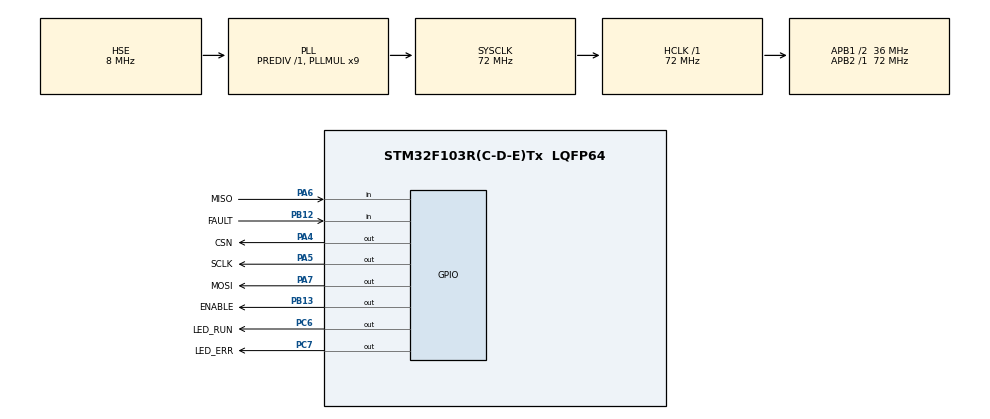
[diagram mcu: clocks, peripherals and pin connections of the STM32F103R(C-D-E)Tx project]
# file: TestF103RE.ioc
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Mcu.Family=STM32F1
Mcu.Name=STM32F103R(C-D-E)Tx
Mcu.Package=LQFP64
NVIC.PriorityGroup=NVIC_PRIORITYGROUP_4
PA13.Mode=Serial_Wire
PA13.Signal=SYS_JTMS-SWDIO
PA14.Mode=Serial_Wire
PA14.Signal=SYS_JTCK-SWCLK
PA4.GPIO_Label=CSN
PA4.Signal=GPIO_Output
PA5.GPIO_Label=SCLK
PA5.Signal=GPIO_Output
PA6.GPIO_Label=MISO
PA6.Signal=GPIO_Input
PA7.GPIO_Label=MOSI
PA7.Signal=GPIO_Output
PB12.GPIO_Label=FAULT
PB12.Signal=GPIO_Input
PB13.GPIO_Label=ENABLE
PB13.Signal=GPIO_Output
PC6.GPIO_Label=LED_RUN
PC6.Signal=GPIO_Output
PC7.GPIO_Label=LED_ERR
PC7.Signal=GPIO_Output
PD0-OSC_IN.Mode=HSE-External-Oscillator
PD0-OSC_IN.Signal=RCC_OSC_IN
PD1-OSC_OUT.Mode=HSE-External-Oscillator
PD1-OSC_OUT.Signal=RCC_OSC_OUT
ProjectManager.HeapSize=0x200
ProjectManager.StackSize=0x400
ProjectManager.TargetToolchain=MDK-ARM V5.32
RCC.AHBFreq_Value=72000000
RCC.APB1CLKDivider=RCC_HCLK_DIV2
RCC.APB1Freq_Value=36000000
RCC.APB1TimFreq_Value=72000000
RCC.APB2Freq_Value=72000000
RCC.APB2TimFreq_Value=72000000
RCC.HCLKFreq_Value=72000000
RCC.PLLMUL=RCC_PLL_MUL9
RCC.PLLSourceVirtual=RCC_PLLSOURCE_HSE
RCC.SYSCLKFreq_VALUE=72000000
RCC.SYSCLKSource=RCC_SYSCLKSOURCE_PLLCLK
RCC.USBFreq_Value=72000000
board=custom

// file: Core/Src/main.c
/* USER CODE BEGIN Header */
/**
  ******************************************************************************
  * @file           : main.c
  * @brief          : Main program body
  ******************************************************************************
  * @attention
  *
  * Copyright (c) 2026 STMicroelectronics.
  * All rights reserved.
  *
  * This software is licensed under terms that can be found in the LICENSE file
  * in the root directory of this software component.
  * If no LICENSE file comes with this software, it is provided AS-IS.
  *
  ******************************************************************************
  */
/* USER CODE END Header */
#include "main.h"

/* USER CODE BEGIN PD */

#define SOFT_SPI_DELAY_CYCLES 30U
#define MS31860T_CHIPS 4U
#define MS31860T_CHANNELS_PER_CHIP 8U
#define MS31860T_TOTAL_CHANNELS (MS31860T_CHIPS * MS31860T_CHANNELS_PER_CHIP)
#define MS31860T_CH_ON_PATTERN 0x0002U
#define MS31860T_FAULT_ACTIVE_LEVEL GPIO_PIN_RESET

/* USER CODE END PD */

void SystemClock_Config(void);
static void MX_GPIO_Init(void);
/* USER CODE BEGIN PFP */
static void SoftSPI_Init(void);
static void SoftSPI_CS(uint8_t level);
static uint8_t SoftSPI_TransferByte(uint8_t tx);
static void MS31860T_SetEnable(uint8_t enable);
static uint8_t MS31860T_IsFaultActive(void);
static void MS31860T_TransferFrame(const uint16_t *tx_data, uint16_t *rx_data, uint8_t chips);
static void MS31860T_SetSingleChannel(uint8_t ch, uint16_t *tx_data, uint8_t chips);

/* USER CODE END PFP */

/* USER CODE BEGIN 0 */
static void SoftSPI_Delay(void)
{
  volatile uint32_t i;

  for (i = 0; i < SOFT_SPI_DELAY_CYCLES; i++)
  {
    __NOP();
  }
}

static void SoftSPI_Init(void)
{
  HAL_GPIO_WritePin(CSN_GPIO_Port, CSN_Pin, GPIO_PIN_SET);
  HAL_GPIO_WritePin(SCLK_GPIO_Port, SCLK_Pin, GPIO_PIN_RESET);
  HAL_GPIO_WritePin(MOSI_GPIO_Port, MOSI_Pin, GPIO_PIN_RESET);
}

static void SoftSPI_CS(uint8_t level)
{
  HAL_GPIO_WritePin(CSN_GPIO_Port, CSN_Pin, level ? GPIO_PIN_SET : GPIO_PIN_RESET);
}

static uint8_t SoftSPI_TransferByte(uint8_t tx)
{
  uint8_t rx = 0;
  uint8_t i;

  for (i = 0; i < 8; i++)
  {
    HAL_GPIO_WritePin(MOSI_GPIO_Port, MOSI_Pin, (tx & 0x80U) ? GPIO_PIN_SET : GPIO_PIN_RESET);
    tx <<= 1;

    SoftSPI_Delay();
    HAL_GPIO_WritePin(SCLK_GPIO_Port, SCLK_Pin, GPIO_PIN_SET);
    SoftSPI_Delay(); /* Wait for chip to output data on rising edge */

    rx <<= 1;
    if (HAL_GPIO_ReadPin(MISO_GPIO_Port, MISO_Pin) == GPIO_PIN_SET)
    {
      rx |= 0x01U;
    }

    HAL_GPIO_WritePin(SCLK_GPIO_Port, SCLK_Pin, GPIO_PIN_RESET); /* Chip latches SI on falling edge */
    SoftSPI_Delay();
  }

  return rx;
}

static void MS31860T_SetEnable(uint8_t enable)
{
  HAL_GPIO_WritePin(ENABLE_GPIO_Port, ENABLE_Pin, enable ? GPIO_PIN_RESET : GPIO_PIN_SET);
}

static uint8_t MS31860T_IsFaultActive(void)
{
  return (HAL_GPIO_ReadPin(FAULT_GPIO_Port, FAULT_Pin) == MS31860T_FAULT_ACTIVE_LEVEL) ? 1U : 0U;
}

static void MS31860T_TransferFrame(const uint16_t *tx_data, uint16_t *rx_data, uint8_t chips)
{
  uint8_t i;

  SoftSPI_CS(0);
  SoftSPI_Delay();

  for (i = 0; i < chips; i++)
  {
    uint16_t rx_word = (uint16_t)SoftSPI_TransferByte((uint8_t)(tx_data[i] >> 8)) << 8;
    rx_word |= SoftSPI_TransferByte((uint8_t)(tx_data[i] & 0xFFU));
    if (rx_data != NULL)
    {
      rx_data[i] = rx_word;
    }
  }

  SoftSPI_Delay();
  SoftSPI_CS(1);
}

static void MS31860T_SetSingleChannel(uint8_t ch, uint16_t *tx_data, uint8_t chips)
{
  uint8_t i;
  uint8_t target_chip;
  uint8_t target_channel;

  for (i = 0; i < chips; i++)
  {
    tx_data[i] = 0U;
  }

  target_chip = (uint8_t)(ch / MS31860T_CHANNELS_PER_CHIP);
  target_channel = (uint8_t)(ch % MS31860T_CHANNELS_PER_CHIP);

  if (target_chip < chips)
  {
    /* Daisy-chain order: tx_data[chips-1] reaches first chip, tx_data[0] reaches last chip. */
    tx_data[(chips - 1U) - target_chip] = (uint16_t)(MS31860T_CH_ON_PATTERN << (target_channel * 2U));
  }
}

/* USER CODE END 0 */

int main(void)
{

  /* MCU Configuration--------------------------------------------------------*/

  /* Reset of all peripherals, Initializes the Flash interface and the Systick. */
  HAL_Init();

  /* Configure the system clock */
  SystemClock_Config();

  /* Initialize all configured peripherals */
  MX_GPIO_Init();
  /* USER CODE BEGIN 2 */
  SoftSPI_Init();
  MS31860T_SetEnable(0U);
  HAL_Delay(10);
  MS31860T_SetEnable(1U);
  HAL_Delay(2);
  /* USER CODE END 2 */

  /* Infinite loop */
  /* USER CODE BEGIN WHILE */
  uint8_t ch = 0;
  while (1)
  {
    uint16_t tx_data[MS31860T_CHIPS];
    uint16_t rx_data[MS31860T_CHIPS];
    uint8_t fault_active;

    MS31860T_SetSingleChannel(ch, tx_data, MS31860T_CHIPS);
    MS31860T_TransferFrame(tx_data, rx_data, MS31860T_CHIPS);

    fault_active = MS31860T_IsFaultActive();
    HAL_GPIO_WritePin(LED_ERR_GPIO_Port, LED_ERR_Pin, fault_active ? GPIO_PIN_SET : GPIO_PIN_RESET);
    HAL_GPIO_TogglePin(LED_RUN_GPIO_Port, LED_RUN_Pin);

    ch++;
    if (ch >= MS31860T_TOTAL_CHANNELS)
    {
      ch = 0;
    }

    HAL_Delay(500);

    /* USER CODE END WHILE */

  }
}

void SystemClock_Config(void)
{
  RCC_OscInitTypeDef RCC_OscInitStruct = {0};
  RCC_ClkInitTypeDef RCC_ClkInitStruct = {0};

  /** Initializes the RCC Oscillators according to the specified parameters
  * in the RCC_OscInitTypeDef structure.
  */
  RCC_OscInitStruct.OscillatorType = RCC_OSCILLATORTYPE_HSE;
  RCC_OscInitStruct.HSEState = RCC_HSE_ON;
  RCC_OscInitStruct.HSEPredivValue = RCC_HSE_PREDIV_DIV1;
  RCC_OscInitStruct.HSIState = RCC_HSI_ON;
  RCC_OscInitStruct.PLL.PLLState = RCC_PLL_ON;
  RCC_OscInitStruct.PLL.PLLSource = RCC_PLLSOURCE_HSE;
  RCC_OscInitStruct.PLL.PLLMUL = RCC_PLL_MUL9;
  if (HAL_RCC_OscConfig(&RCC_OscInitStruct) != HAL_OK)
  {
    Error_Handler();
  }

  /** Initializes the CPU, AHB and APB buses clocks
  */
  RCC_ClkInitStruct.ClockType = RCC_CLOCKTYPE_HCLK|RCC_CLOCKTYPE_SYSCLK
                              |RCC_CLOCKTYPE_PCLK1|RCC_CLOCKTYPE_PCLK2;
  RCC_ClkInitStruct.SYSCLKSource = RCC_SYSCLKSOURCE_PLLCLK;
  RCC_ClkInitStruct.AHBCLKDivider = RCC_SYSCLK_DIV1;
  RCC_ClkInitStruct.APB1CLKDivider = RCC_HCLK_DIV2;
  RCC_ClkInitStruct.APB2CLKDivider = RCC_HCLK_DIV1;

  if (HAL_RCC_ClockConfig(&RCC_ClkInitStruct, FLASH_LATENCY_2) != HAL_OK)
  {
    Error_Handler();
  }
}

static void MX_GPIO_Init(void)
{
  GPIO_InitTypeDef GPIO_InitStruct = {0};

  /* GPIO Ports Clock Enable */
  __HAL_RCC_GPIOD_CLK_ENABLE();
  __HAL_RCC_GPIOA_CLK_ENABLE();
  __HAL_RCC_GPIOB_CLK_ENABLE();
  __HAL_RCC_GPIOC_CLK_ENABLE();

  /*Configure GPIO pin Output Level */
  HAL_GPIO_WritePin(GPIOA, CSN_Pin|SCLK_Pin|MOSI_Pin, GPIO_PIN_RESET);

  /*Configure GPIO pin Output Level */
  HAL_GPIO_WritePin(ENABLE_GPIO_Port, ENABLE_Pin, GPIO_PIN_RESET);

  /*Configure GPIO pin Output Level */
  HAL_GPIO_WritePin(GPIOC, LED_RUN_Pin|LED_ERR_Pin, GPIO_PIN_RESET);

  /*Configure GPIO pins : CSN_Pin SCLK_Pin MOSI_Pin */
  GPIO_InitStruct.Pin = CSN_Pin|SCLK_Pin|MOSI_Pin;
  GPIO_InitStruct.Mode = GPIO_MODE_OUTPUT_PP;
  GPIO_InitStruct.Pull = GPIO_NOPULL;
  GPIO_InitStruct.Speed = GPIO_SPEED_FREQ_LOW;
  HAL_GPIO_Init(GPIOA, &GPIO_InitStruct);

  /*Configure GPIO pin : MISO_Pin */
  GPIO_InitStruct.Pin = MISO_Pin;
  GPIO_InitStruct.Mode = GPIO_MODE_INPUT;
  GPIO_InitStruct.Pull = GPIO_NOPULL;
  HAL_GPIO_Init(MISO_GPIO_Port, &GPIO_InitStruct);

  /*Configure GPIO pin : FAULT_Pin */
  GPIO_InitStruct.Pin = FAULT_Pin;
  GPIO_InitStruct.Mode = GPIO_MODE_INPUT;
  GPIO_InitStruct.Pull = GPIO_NOPULL;
  HAL_GPIO_Init(FAULT_GPIO_Port, &GPIO_InitStruct);

  /*Configure GPIO pin : ENABLE_Pin */
  GPIO_InitStruct.Pin = ENABLE_Pin;
  GPIO_InitStruct.Mode = GPIO_MODE_OUTPUT_PP;
  GPIO_InitStruct.Pull = GPIO_NOPULL;
  GPIO_InitStruct.Speed = GPIO_SPEED_FREQ_LOW;
  HAL_GPIO_Init(ENABLE_GPIO_Port, &GPIO_InitStruct);

  /*Configure GPIO pins : LED_RUN_Pin LED_ERR_Pin */
  GPIO_InitStruct.Pin = LED_RUN_Pin|LED_ERR_Pin;
  GPIO_InitStruct.Mode = GPIO_MODE_OUTPUT_PP;
  GPIO_InitStruct.Pull = GPIO_NOPULL;
  GPIO_InitStruct.Speed = GPIO_SPEED_FREQ_LOW;
  HAL_GPIO_Init(GPIOC, &GPIO_InitStruct);

}

void Error_Handler(void)
{
  __disable_irq();
  while (1)
  {
  }
}
